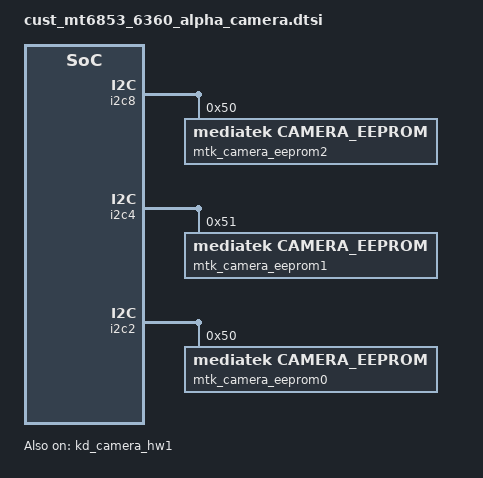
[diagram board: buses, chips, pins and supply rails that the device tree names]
/*
 * Copyright (c) 2019 MediaTek Inc.
 *
 * This program is free software; you can redistribute it and/or modify
 * it under the terms of the GNU General Public License version 2 as
 * published by the Free Software Foundation.
 *
 * This program is distributed in the hope that it will be useful,
 * but WITHOUT ANY WARRANTY; without even the implied warranty of
 * MERCHANTABILITY or FITNESS FOR A PARTICULAR PURPOSE.  See the
 * GNU General Public License for more details.
 */
/* CAMERA GPIO standardization */
&pio {
	camera_pins_cam0_rst_0: cam0@0 {
		pins_cmd_dat {
			pinmux = <PINMUX_GPIO54__FUNC_GPIO54>;
			slew-rate = <1>;
			output-low;
		};
	};
	camera_pins_cam0_rst_1: cam0@1 {
		pins_cmd_dat {
			pinmux = <PINMUX_GPIO54__FUNC_GPIO54>;
			slew-rate = <1>;
			output-high;
		};
	};
	camera_pins_cam1_rst_0: cam1@0 {
		pins_cmd_dat {
			pinmux = <PINMUX_GPIO60__FUNC_GPIO60>;
			slew-rate = <1>;
			output-low;
		};
	};
	camera_pins_cam1_rst_1: cam1@1 {
		pins_cmd_dat {
			pinmux = <PINMUX_GPIO60__FUNC_GPIO60>;
			slew-rate = <1>;
			output-high;
		};
	};
	camera_pins_cam2_rst_0: cam2@0 {
		pins_cmd_dat {
			pinmux = <PINMUX_GPIO56__FUNC_GPIO56>;
			slew-rate = <1>;
			output-low;
		};
	};
	camera_pins_cam2_rst_1: cam2@1 {
		pins_cmd_dat {
			pinmux = <PINMUX_GPIO56__FUNC_GPIO56>;
			slew-rate = <1>;
			output-high;
		};
	};
	camera_pins_cam3_rst_0: cam3@0 {
		pins_cmd_dat {
			pinmux = <PINMUX_GPIO58__FUNC_GPIO58>;
			slew-rate = <1>;
			output-low;
		};
	};
	camera_pins_cam3_rst_1: cam3@1 {
		pins_cmd_dat {
			pinmux = <PINMUX_GPIO58__FUNC_GPIO58>;
			slew-rate = <1>;
			output-high;
		};
	};
	camera_pins_cam0_vcamd_0: cam0@vcam0 {
		pins_cmd_dat {
			pinmux = <PINMUX_GPIO55__FUNC_GPIO55>;
			slew-rate = <1>;
			output-low;
		};
	};
	camera_pins_cam0_vcamd_1: cam0@vcam1 {
		pins_cmd_dat {
			pinmux = <PINMUX_GPIO55__FUNC_GPIO55>;
			slew-rate = <1>;
			output-high;
		};
	};
	camera_pins_cam0_vcama_0: cam0@vcam2 {
		pins_cmd_dat {
			pinmux = <PINMUX_GPIO53__FUNC_GPIO53>;
			slew-rate = <1>;
			output-low;
		};
	};
	camera_pins_cam0_vcama_1: cam0@vcam3 {
		pins_cmd_dat {
			pinmux = <PINMUX_GPIO53__FUNC_GPIO53>;
			slew-rate = <1>;
			output-high;
		};
	};
	camera_pins_cam1_vcamd_0: cam1@vcam0 {
		pins_cmd_dat {
			pinmux = <PINMUX_GPIO55__FUNC_GPIO55>;
			slew-rate = <1>;
			output-low;
		};
	};
	camera_pins_cam1_vcamd_1: cam1@vcam1 {
		pins_cmd_dat {
			pinmux = <PINMUX_GPIO55__FUNC_GPIO55>;
			slew-rate = <1>;
			output-high;
		};
	};
	camera_pins_cam0_mclk_off: camera_pins_cam0_mclk_off {
		pins_cmd_dat {
			pinmux = <PINMUX_GPIO49__FUNC_GPIO49>;
			drive-strength = <1>;
		};
	};
	camera_pins_cam0_mclk_2ma: camera_pins_cam0_mclk_2ma {
		pins_cmd_dat {
			pinmux = <PINMUX_GPIO49__FUNC_CMMCLK0>;
			drive-strength = <0>;
		};
	};
	camera_pins_cam0_mclk_4ma: camera_pins_cam0_mclk_4ma {
		pins_cmd_dat {
			pinmux = <PINMUX_GPIO49__FUNC_CMMCLK0>;
			drive-strength = <1>;
		};
	};
	camera_pins_cam0_mclk_6ma: camera_pins_cam0_mclk_6ma {
		pins_cmd_dat {
			pinmux = <PINMUX_GPIO49__FUNC_CMMCLK0>;
			drive-strength = <2>;
		};
	};
	camera_pins_cam0_mclk_8ma: camera_pins_cam0_mclk_8ma {
		pins_cmd_dat {
			pinmux = <PINMUX_GPIO49__FUNC_CMMCLK0>;
			drive-strength = <3>;
		};
	};
	camera_pins_cam1_mclk_off: camera_pins_cam1_mclk_off {
		pins_cmd_dat {
			pinmux = <PINMUX_GPIO52__FUNC_GPIO52>;
			drive-strength = <1>;
		};
	};
	camera_pins_cam1_mclk_2ma: camera_pins_cam1_mclk_2ma {
		pins_cmd_dat {
			pinmux = <PINMUX_GPIO52__FUNC_CMMCLK3>;
			drive-strength = <0>;
		};
	};
	camera_pins_cam1_mclk_4ma: camera_pins_cam1_mclk_4ma {
		pins_cmd_dat {
			pinmux = <PINMUX_GPIO52__FUNC_CMMCLK3>;
			drive-strength = <1>;
		};
	};
	camera_pins_cam1_mclk_6ma: camera_pins_cam1_mclk_6ma {
		pins_cmd_dat {
			pinmux = <PINMUX_GPIO52__FUNC_CMMCLK3>;
			drive-strength = <2>;
		};
	};
	camera_pins_cam1_mclk_8ma: camera_pins_cam1_mclk_8ma {
		pins_cmd_dat {
			pinmux = <PINMUX_GPIO52__FUNC_CMMCLK3>;
			drive-strength = <3>;
		};
	};
	camera_pins_cam2_mclk_off: camera_pins_cam2_mclk_off {
		pins_cmd_dat {
			pinmux = <PINMUX_GPIO50__FUNC_GPIO50>;
			drive-strength = <1>;
		};
	};
	camera_pins_cam2_mclk_2ma: camera_pins_cam2_mclk_2ma {
		pins_cmd_dat {
			pinmux = <PINMUX_GPIO50__FUNC_CMMCLK1>;
			drive-strength = <0>;
		};
	};
	camera_pins_cam2_mclk_4ma: camera_pins_cam2_mclk_4ma {
		pins_cmd_dat {
			pinmux = <PINMUX_GPIO50__FUNC_CMMCLK1>;
			drive-strength = <1>;
		};
	};
	camera_pins_cam2_mclk_6ma: camera_pins_cam2_mclk_6ma {
		pins_cmd_dat {
			pinmux = <PINMUX_GPIO50__FUNC_CMMCLK1>;
			drive-strength = <2>;
		};
	};
	camera_pins_cam2_mclk_8ma: camera_pins_cam2_mclk_8ma {
		pins_cmd_dat {
			pinmux = <PINMUX_GPIO50__FUNC_CMMCLK1>;
			drive-strength = <3>;
		};
	};
	camera_pins_cam3_mclk_off: camera_pins_cam3_mclk_off {
		pins_cmd_dat {
			pinmux = <PINMUX_GPIO51__FUNC_GPIO51>;
			drive-strength = <1>;
		};
	};
	camera_pins_cam3_mclk_2ma: camera_pins_cam3_mclk_2ma {
		pins_cmd_dat {
			pinmux = <PINMUX_GPIO51__FUNC_CMMCLK2>;
			drive-strength = <0>;
		};
	};
	camera_pins_cam3_mclk_4ma: camera_pins_cam3_mclk_4ma {
		pins_cmd_dat {
			pinmux = <PINMUX_GPIO51__FUNC_CMMCLK2>;
			drive-strength = <1>;
		};
	};
	camera_pins_cam3_mclk_6ma: camera_pins_cam3_mclk_6ma {
		pins_cmd_dat {
			pinmux = <PINMUX_GPIO51__FUNC_CMMCLK2>;
			drive-strength = <2>;
		};
	};
	camera_pins_cam3_mclk_8ma: camera_pins_cam3_mclk_8ma {
		pins_cmd_dat {
			pinmux = <PINMUX_GPIO51__FUNC_CMMCLK2>;
			drive-strength = <3>;
		};
	};
	camera_pins_default: camdefault {
	};
};
&kd_camera_hw1 {
	pinctrl-names = "default",
			"cam0_rst0", "cam0_rst1",
			"cam1_rst0", "cam1_rst1",
			"cam2_rst0", "cam2_rst1",
			"cam3_rst0", "cam3_rst1",
			"cam0_ldo_vcamd_0", "cam0_ldo_vcamd_1",
			"cam0_ldo_vcama_0", "cam0_ldo_vcama_1",
			"cam1_ldo_vcamd_0", "cam1_ldo_vcamd_1",
			"cam0_mclk_off",
			"cam0_mclk_2mA", "cam0_mclk_4mA",
			"cam0_mclk_6mA", "cam0_mclk_8mA",
			"cam1_mclk_off",
			"cam1_mclk_2mA", "cam1_mclk_4mA",
			"cam1_mclk_6mA", "cam1_mclk_8mA",
			"cam2_mclk_off",
			"cam2_mclk_2mA", "cam2_mclk_4mA",
			"cam2_mclk_6mA", "cam2_mclk_8mA",
			"cam3_mclk_off",
			"cam3_mclk_2mA", "cam3_mclk_4mA",
			"cam3_mclk_6mA", "cam3_mclk_8mA";
	pinctrl-0 = <&camera_pins_default>;
	pinctrl-1 = <&camera_pins_cam0_rst_0>;
	pinctrl-2 = <&camera_pins_cam0_rst_1>;
	pinctrl-3 = <&camera_pins_cam1_rst_0>;
	pinctrl-4 = <&camera_pins_cam1_rst_1>;
	pinctrl-5 = <&camera_pins_cam2_rst_0>;
	pinctrl-6 = <&camera_pins_cam2_rst_1>;
	pinctrl-7 = <&camera_pins_cam3_rst_0>;
	pinctrl-8 = <&camera_pins_cam3_rst_1>;
	pinctrl-9 = <&camera_pins_cam0_vcamd_0>;
	pinctrl-10 = <&camera_pins_cam0_vcamd_1>;
	pinctrl-11 = <&camera_pins_cam0_vcama_0>;
	pinctrl-12 = <&camera_pins_cam0_vcama_1>;
	pinctrl-13 = <&camera_pins_cam1_vcamd_0>;
	pinctrl-14 = <&camera_pins_cam1_vcamd_1>;
	pinctrl-15 = <&camera_pins_cam0_mclk_off>;
	pinctrl-16 = <&camera_pins_cam0_mclk_2ma>;
	pinctrl-17 = <&camera_pins_cam0_mclk_4ma>;
	pinctrl-18 = <&camera_pins_cam0_mclk_6ma>;
	pinctrl-19 = <&camera_pins_cam0_mclk_8ma>;
	pinctrl-20 = <&camera_pins_cam1_mclk_off>;
	pinctrl-21 = <&camera_pins_cam1_mclk_2ma>;
	pinctrl-22 = <&camera_pins_cam1_mclk_4ma>;
	pinctrl-23 = <&camera_pins_cam1_mclk_6ma>;
	pinctrl-24 = <&camera_pins_cam1_mclk_8ma>;
	pinctrl-25 = <&camera_pins_cam2_mclk_off>;
	pinctrl-26 = <&camera_pins_cam2_mclk_2ma>;
	pinctrl-27 = <&camera_pins_cam2_mclk_4ma>;
	pinctrl-28 = <&camera_pins_cam2_mclk_6ma>;
	pinctrl-29 = <&camera_pins_cam2_mclk_8ma>;
	pinctrl-30 = <&camera_pins_cam3_mclk_off>;
	pinctrl-31 = <&camera_pins_cam3_mclk_2ma>;
	pinctrl-32 = <&camera_pins_cam3_mclk_4ma>;
	pinctrl-33 = <&camera_pins_cam3_mclk_6ma>;
	pinctrl-34 = <&camera_pins_cam3_mclk_8ma>;


	cam0_vcamio-supply = <&mt_pmic_vcamio_ldo_reg>;
	cam1_vcamio-supply = <&mt_pmic_vcamio_ldo_reg>;
	cam2_vcamio-supply = <&mt_pmic_vcamio_ldo_reg>;
	cam3_vcamio-supply = <&mt_pmic_vcamio_ldo_reg>;
	cam1_vcama-supply = <&mt_pmic_vtp_ldo_reg>;
	cam2_vcama-supply = <&mt_pmic_vtp_ldo_reg>;
	cam2_vcamd-supply = <&mt_pmic_vcn13_ldo_reg>;
	cam3_vcama-supply = <&mt_pmic_vtp_ldo_reg>;

	//vcammainaf-supply = <&mt_pmic_vmch_ldo_reg>;

	cam0_enable_sensor = "ov16a10_mipi_raw ov48b_mipi_raw";
	cam1_enable_sensor = "s5k3p9sp_mipi_raw";
	cam2_enable_sensor = "hi846_mipi_raw";
	cam3_enable_sensor = "gc02m0b_mipi_mono gc02m1b_mipi_mono";

	status = "okay";
};
/* CAMERA GPIO end */

/* CAMERA EEPROM */
&i2c8 {
	mtk_camera_eeprom2:camera_eeprom2@50 {
		compatible = "mediatek,camera_eeprom";
		reg = <0x50>;
		status = "okay";
	};
};
&i2c4 {
	mtk_camera_eeprom1:camera_eeprom1@51 {
		compatible = "mediatek,camera_eeprom";
		reg = <0x51>;
		status = "okay";
	};
};
&i2c2 {
	mtk_camera_eeprom0:camera_eeprom0@50 {
		compatible = "mediatek,camera_eeprom";
		reg = <0x50>;
		status = "okay";
	};
};
/* CAMERA EEPROM end */
